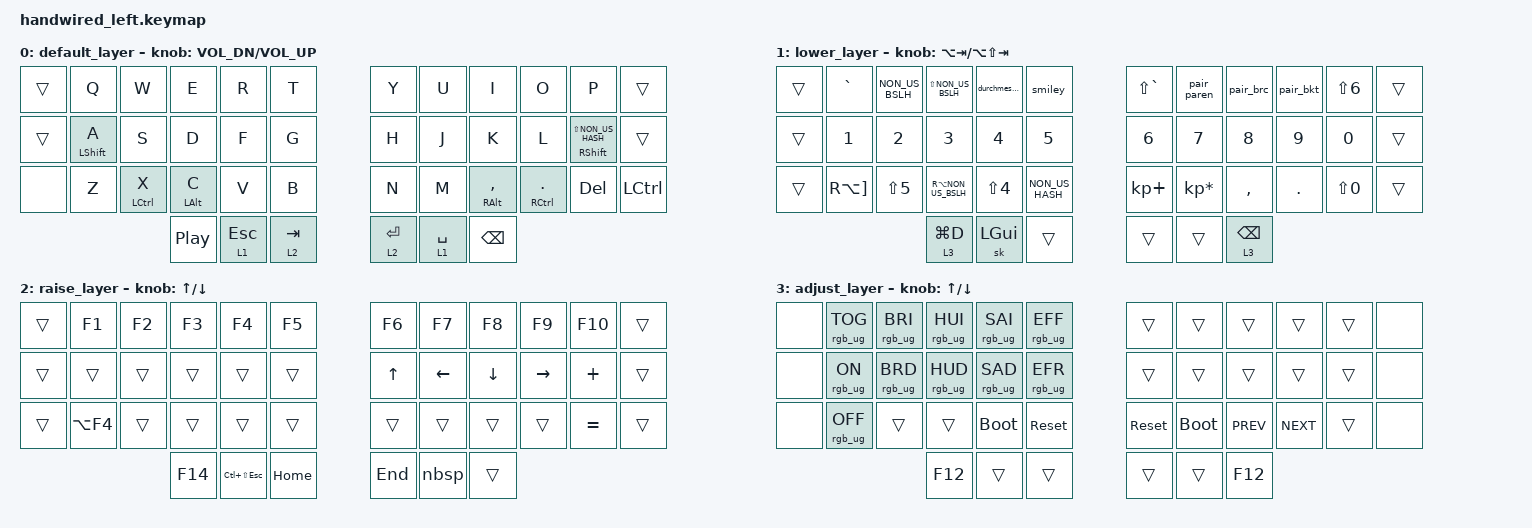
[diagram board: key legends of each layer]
/*
 * handwired_left.keymap  // ci-touch-2 (Updated with Hawk keymap features)
 *
 * 42 bindings per layer  (3 rows × 12 + 6 thumb keys)
 * position = row*12 + col  (rows 0–2); positions 36-41 for thumb row
 *
 * Row 0 (0-11):  LCol0  Q   W   E   R   T  | Y   U   I   O   P   RCol0
 * Row 1 (12-23): LCol0  A   S   D   F   G  | H   J   K   L   ;   RCol0
 * Row 2 (24-35): Alps   Z   X   C   V   B  | N   M   ,   .   DEL EC11R
 * Row 3 (36-41): LT3 LT2 LT1 | RT1 RT2 RT3
 */

#define LEFT_HAND_KEYS   1  2  3  4  5 13 14 15 16 17 25 26 27 28 29 36 37 38
#define RIGHT_HAND_KEYS  6  7  8  9 10 18 19 20 21 22 30 31 32 33 34 39 40 41

#include <behaviors.dtsi>
#include <dt-bindings/zmk/keys.h>
#include <dt-bindings/zmk/bt.h>
#include <dt-bindings/zmk/ext_power.h>
#include <dt-bindings/zmk/outputs.h>
#include <dt-bindings/zmk/pointing.h>
#include <dt-bindings/zmk/rgb.h>

/ {
    /* ------------------------------------------------------------------ */
    /* Macros                                                             */
    /* ------------------------------------------------------------------ */
    macros {
        pair_paren: pair_paren {
            compatible = "zmk,behavior-macro";
            #binding-cells = <0>;
            wait-ms = <10>;
            tap-ms = <10>;
            bindings = <&kp LS(N8)>, <&kp LS(N9)>, <&kp LEFT>;
        };

        pair_brc: pair_brc {
            compatible = "zmk,behavior-macro";
            #binding-cells = <0>;
            wait-ms = <10>;
            tap-ms = <10>;
            bindings = <&kp RA(N7)>, <&kp RA(N0)>, <&kp LEFT>;
        };

        pair_bkt: pair_bkt {
            compatible = "zmk,behavior-macro";
            #binding-cells = <0>;
            wait-ms = <10>;
            tap-ms = <10>;
            bindings = <&kp RA(N8)>, <&kp RA(N9)>, <&kp LEFT>;
        };

        durchmesser: durchmesser {
            compatible = "zmk,behavior-macro";
            #binding-cells = <0>;
            bindings = <&macro_press &kp LALT>, <&macro_tap &kp KP_N0 &kp KP_N2 &kp KP_N4 &kp KP_N8>, <&macro_release &kp LALT>;
        };

        smiley: smiley {
            compatible = "zmk,behavior-macro";
            #binding-cells = <0>;
            wait-ms = <20>;
            tap-ms = <20>;
            bindings = <&macro_press &kp LSHFT>, <&macro_tap &kp COMMA>, <&macro_release &kp LSHFT>, <&macro_tap &kp SLASH>, <&macro_press &kp LSHFT>, <&macro_tap &kp N9>, <&macro_release &kp LSHFT>;
        };

        nbsp: nbsp {
            compatible = "zmk,behavior-macro";
            #binding-cells = <0>;
            wait-ms = <30>;
            tap-ms = <30>;
            bindings = <&macro_press &kp LALT>, <&macro_tap &kp KP_N0 &kp KP_N1 &kp KP_N6 &kp KP_N0>, <&macro_release &kp LALT>;
        };
    };

    /* ------------------------------------------------------------------ */
    /* Behaviors                                                          */
    /* ------------------------------------------------------------------ */
    behaviors {
        lt_enter: lt_enter {
            compatible = "zmk,behavior-hold-tap";
            #binding-cells = <2>;
            tapping-term-ms = <220>;
            quick-tap-ms = <150>;
            flavor = "hold-preferred";
            retro-tap;
            bindings = <&mo>, <&kp>;
        };

        caps_wrd: caps_wrd {
            compatible = "zmk,behavior-caps-word";
            #binding-cells = <0>;
            continue-list = <NON_US_HASH KP_DIVIDE BACKSPACE DEL SLASH SQT SEMI LBKT>;
        };

        hrm_safe: hrm_safe {
            compatible = "zmk,behavior-hold-tap";
            #binding-cells = <2>;
            tapping-term-ms = <280>;
            quick-tap-ms = <175>;
            flavor = "tap-preferred";
            require-prior-idle-ms = <220>;
            bindings = <&kp>, <&kp>;
            hold-trigger-on-release;
        };

        hrm_left: hrm_left {
            compatible = "zmk,behavior-hold-tap";
            #binding-cells = <2>;
            flavor = "tap-preferred";
            tapping-term-ms = <220>;
            require-prior-idle-ms = <150>;
            hold-trigger-key-positions = <RIGHT_HAND_KEYS>;
            hold-trigger-on-release;
            bindings = <&kp>, <&kp>;
        };

        hrm_right: hrm_right {
            compatible = "zmk,behavior-hold-tap";
            #binding-cells = <2>;
            flavor = "tap-preferred";
            tapping-term-ms = <170>;
            require-prior-idle-ms = <80>;
            hold-trigger-key-positions = <LEFT_HAND_KEYS>;
            hold-trigger-on-release;
            bindings = <&kp>, <&kp>;
        };

        lt_hp: lt_hp {
            compatible = "zmk,behavior-hold-tap";
            #binding-cells = <2>;
            tapping-term-ms = <200>;
            quick-tap-ms = <200>;
            flavor = "balanced";
            retro-tap;
            bindings = <&mo>, <&kp>;
        };

        hw_scroll: hw_scroll {
            compatible = "zmk,behavior-sensor-rotate-var";
            #sensor-binding-cells = <2>;
            bindings = <&msc>, <&msc>;
            tap-ms = <20>;
        };
    };

    /* ------------------------------------------------------------------ */
    /* Combos                                                             */
    /* ------------------------------------------------------------------ */
    combos {
        compatible = "zmk,combos";

        /* Systematische HRM-Combos (35ms) auf Tasten mit Modifikatoren */
        combo_caps_word  { timeout-ms = <35>; key-positions = <16 19>; bindings = <&caps_wrd>; layers = <0>; };    // F + J
        combo_quote      { timeout-ms = <35>; key-positions = <15 16>; bindings = <&kp LS(N2)>; layers = <0 1>; }; // D + F
        combo_question   { timeout-ms = <35>; key-positions = <19 20>; bindings = <&kp LS(MINUS)>; layers = <0 1>; }; // J + K
        combo_ue         { timeout-ms = <35>; key-positions = <7 19>;  bindings = <&kp LBKT>; layers = <0>; };     // U + J

        /* Unkritische Combos (45-50ms) */
        combo_excl       { timeout-ms = <45>; key-positions = <3 15>;  bindings = <&kp LS(N1)>; layers = <0 1>; }; // E + D
        combo_colon      { timeout-ms = <45>; key-positions = <32 33>; bindings = <&kp LS(DOT)>; layers = <0 1>; };// , + .
        combo_backslash  { timeout-ms = <45>; key-positions = <20 21>; bindings = <&kp RA(MINUS)>; layers = <0 1>; };// K + L
        combo_slash      { timeout-ms = <45>; key-positions = <14 15>; bindings = <&kp KP_DIVIDE>; layers = <0 1>; };// S + D
        combo_minus      { timeout-ms = <45>; key-positions = <21 22>; bindings = <&kp SLASH>; layers = <0 1>; };    // L + #
        combo_underscore { timeout-ms = <35>; key-positions = <13 14>; bindings = <&kp LS(SLASH)>; layers = <0 1>; };// A + S
        combo_ae         { timeout-ms = <50>; key-positions = <1 13>;  bindings = <&kp SQT>; layers = <0>; };      // Q + A
        combo_oe         { timeout-ms = <45>; key-positions = <9 21>;  bindings = <&kp SEMI>; layers = <0>; };     // O + L
        combo_ss         { timeout-ms = <45>; key-positions = <2 14>;  bindings = <&kp MINUS>; layers = <0>; };    // W + S

        combo_del_last_word {
            timeout-ms = <45>;
            key-positions = <36 41>;
            bindings = <&kp LC(BSPC)>;
            layers = <0>;
        };

        /* ── Alps 5-way switch Combos (Kabelgebundene Hardware) ───────── */
        alps_right {
            timeout-ms = <50>;
            require-prior-idle-ms = <0>;
            key-positions = <1 5 25 29>;
            bindings = <&kp C_NEXT>;
        };

        alps_left {
            timeout-ms = <50>;
            require-prior-idle-ms = <0>;
            key-positions = <2 5 26 29>;
            bindings = <&kp C_PREV>;
        };

        alps_up {
            timeout-ms = <50>;
            require-prior-idle-ms = <0>;
            key-positions = <3 5 27 29>;
            bindings = <&kp UP>;
        };

        alps_down {
            timeout-ms = <50>;
            require-prior-idle-ms = <0>;
            key-positions = <4 5 28 29>;
            bindings = <&kp DOWN>;
        };

        alps_enter {
            timeout-ms = <50>;
            require-prior-idle-ms = <0>;
            key-positions = <5 29>;
            bindings = <&kp C_PP>;
        };
    };

    /* ------------------------------------------------------------------ */
    /* Keymap                                                             */
    /* ------------------------------------------------------------------ */
    keymap {
        compatible = "zmk,keymap";

        /* Layer 0 – Default */
        default_layer {
            sensor-bindings = <&inc_dec_kp C_VOL_DN C_VOL_UP>;
            bindings = <
/* pos  0       1        2                  3                  4                 5                  6        7                  8                     9                   10                  11   */
/* pos  12      13       14                 15                 16                17                 18       19                 20                    21                  22                  23   */
/* pos  24      25       26                 27                 28                29                 30       31                 32                    33                  34                  35   */
/* pos                             36                 37                38                 39       40                 41                                                   */

   &trans   &kp Q    &kp W              &kp E              &kp R             &kp T              &kp Y       &kp U              &kp I                 &kp O               &kp P               &trans
   &trans   &hrm_left LSHIFT A &kp S    &kp D              &kp F             &kp G              &kp H       &kp J              &kp K                 &kp L               &hrm_right RSHIFT LS(NON_US_HASH) &trans
   &none    &kp Z    &hrm_safe LCTRL X  &hrm_safe LALT C   &kp V             &kp B              &kp N       &kp M              &hrm_safe RALT COMMA  &hrm_safe RCTRL DOT &kp DEL             &kp LCTRL
                                        &kp C_PP           &lt 1 ESC         &lt 2 TAB          &lt_enter 2 RET &lt_hp 1 SPACE  &kp BSPC
            >;
        };

        /* Layer 1 – Lower (symbols / numbers) */
        lower_layer {
            sensor-bindings = <&inc_dec_kp LA(TAB) LA(LS(TAB))>;
            bindings = <
   &trans   &kp GRAVE    &kp NON_US_BSLH  &kp LS(NON_US_BSLH)  &durchmesser   &smiley            &kp LS(GRAVE)  &pair_paren       &pair_brc   &pair_bkt   &kp LS(N6)    &trans
   &trans   &kp N1       &kp N2           &kp N3               &kp N4         &kp N5             &kp N6         &kp N7            &kp N8      &kp N9      &kp N0        &trans
   &trans   &kp RA(RBKT) &kp LS(N5)       &kp RA(NON_US_BSLH)  &kp LS(N4)     &kp NON_US_HASH    &kp KP_PLUS    &kp KP_MULTIPLY   &kp COMMA   &kp DOT     &kp LS(N0)    &trans
                                          &lt 3 LG(D)          &sk LGUI       &trans             &trans         &trans            &lt_hp 3 BSPC
            >;
        };

        /* Layer 2 – Raise (navigation / function) */
        raise_layer {
            sensor-bindings = <&inc_dec_kp UP DOWN>;
            bindings = <
   &trans   &kp F1      &kp F2   &kp F3        &kp F4           &kp F5           &kp F6   &kp F7    &kp F8   &kp F9      &kp F10    &trans
   &trans   &trans      &trans   &trans        &trans           &trans           &kp UP   &kp LEFT  &kp DOWN &kp RIGHT   &kp PLUS   &trans
   &trans   &kp LA(F4)  &trans   &trans        &trans           &trans           &trans   &trans    &trans   &trans      &kp EQUAL  &trans
                                 &kp F14       &kp LC(LS(ESC))  &kp HOME         &kp END  &nbsp     &trans
            >;
        };

        /* Layer 3 – Adjust */
        adjust_layer {
            sensor-bindings = <&inc_dec_kp UP DOWN>;
            bindings = <
   &none  &rgb_ug RGB_TOG  &rgb_ug RGB_BRI  &rgb_ug RGB_HUI  &rgb_ug RGB_SAI  &rgb_ug RGB_EFF       &trans      &trans       &trans       &trans      &trans   &none
   &none  &rgb_ug RGB_ON   &rgb_ug RGB_BRD  &rgb_ug RGB_HUD  &rgb_ug RGB_SAD  &rgb_ug RGB_EFR       &trans      &trans       &trans       &trans      &trans   &none
   &none  &rgb_ug RGB_OFF  &trans           &trans           &bootloader      &sys_reset            &sys_reset  &bootloader  &kp C_PREV   &kp C_NEXT  &trans   &none
                                            &kp F12          &trans           &trans                &trans      &trans       &kp F12
            >;
        };
    };
};
